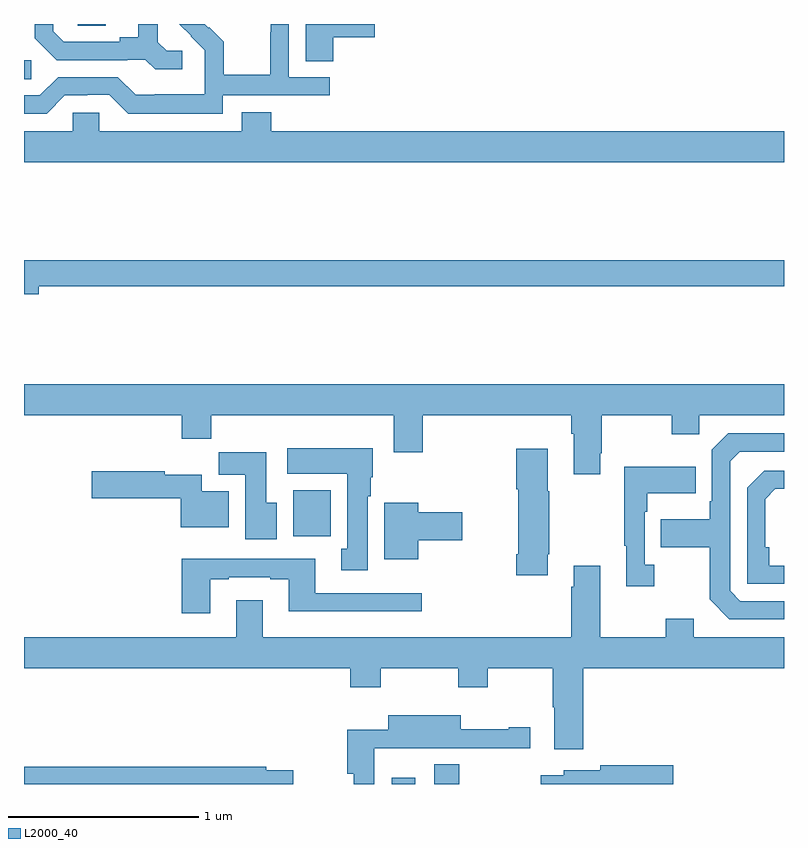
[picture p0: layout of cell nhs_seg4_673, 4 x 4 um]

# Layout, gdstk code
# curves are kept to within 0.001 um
import gdstk
lib = gdstk.Library(unit=1e-6, precision=1e-09)
def R(c, l, rs):  # rectangles x0, y0, x1, y1
    for r in rs: c.add(gdstk.rectangle(r[:2], r[2:], *l))
def P(c, l, *ps):  # polygons
    for p in ps: c.add(gdstk.Polygon(p, *l))
L2000_40 = (2000, 40)

nhs_seg4_673 = lib.new_cell('nhs_seg4_673')
R(nhs_seg4_673, L2000_40, [(146.936,774.9,147.058,774.934), (147.158,774.9,147.292,775.003), (146.417,776.204,146.614,776.446), (145,778.609,145.039,778.71), (145.284,778.891,145.429,778.9)])
P(nhs_seg4_673, L2000_40, [(145.834,778.758),(145.752,778.758),(145.705,778.805),(145.705,778.9),(145.601,778.9),(145.601,778.829),(145.505,778.829),(145.505,778.806),(145.21,778.806),(145.153,778.863),(145.153,778.9),(145.056,778.9),(145.056,778.826),(145.172,778.71),(145.544,778.71),(145.544,778.713),(145.638,778.713),(145.69,778.661),(145.834,778.661)],
  [(146.046,778.524),(146.608,778.524),(146.608,778.62),(146.394,778.62),(146.394,778.9),(146.298,778.9),(146.298,778.856),(146.296,778.856),(146.296,778.633),(146.051,778.633),(146.051,778.807),(145.974,778.884),(145.971,778.881),(145.952,778.9),(145.816,778.9),(145.952,778.762),(145.952,778.665),(145.95,778.665),(145.95,778.531),(145.687,778.531),(145.687,778.527),(145.587,778.527),(145.494,778.62),(145.179,778.62),(145.083,778.524),(145,778.524),(145,778.428),(145.119,778.428),(145.215,778.524),(145.334,778.524),(145.334,778.527),(145.449,778.527),(145.549,778.427),(146.046,778.427)],
  [(146.627,778.829),(146.845,778.829),(146.845,778.9),(146.483,778.9),(146.483,778.705),(146.627,778.705)],
  [(149,778.336),(146.3,778.336),(146.3,778.435),(146.147,778.435),(146.147,778.336),(145.395,778.336),(145.395,778.434),(145.257,778.434),(145.257,778.336),(145,778.336),(145,778.172),(149,778.172)],
  [(145.078,777.52),(149,777.52),(149,777.656),(145,777.656),(145,777.478),(145.078,777.478)],
  [(148.033,776.641),(148.041,776.641),(148.041,776.84),(148.408,776.84),(148.408,776.741),(148.554,776.741),(148.554,776.84),(149,776.84),(149,777.004),(145,777.004),(145,776.84),(145.829,776.84),(145.829,776.716),(145.985,776.716),(145.985,776.84),(146.945,776.84),(146.945,776.646),(147.098,776.646),(147.098,776.84),(147.881,776.84),(147.881,776.744),(147.893,776.744),(147.893,776.529),(148.033,776.529)],
  [(149,775.863),(148.77,775.863),(148.716,775.917),(148.716,776.598),(148.767,776.649),(149,776.649),(149,776.745),(148.707,776.745),(148.62,776.658),(148.62,776.389),(148.608,776.389),(148.608,776.293),(148.351,776.293),(148.351,776.146),(148.608,776.146),(148.608,775.873),(148.713,775.767),(149,775.767)],
  [(146.809,776.414),(146.824,776.414),(146.824,776.514),(146.836,776.514),(146.836,776.668),(146.385,776.668),(146.385,776.534),(146.702,776.534),(146.702,776.138),(146.669,776.138),(146.669,776.025),(146.809,776.025)],
  [(147.757,776.11),(147.765,776.11),(147.765,776.441),(147.757,776.441),(147.757,776.665),(147.59,776.665),(147.59,776.452),(147.602,776.452),(147.602,776.11),(147.59,776.11),(147.59,775.998),(147.757,775.998)],
  [(146.329,776.38),(146.275,776.38),(146.275,776.647),(146.026,776.647),(146.026,776.528),(146.165,776.528),(146.165,776.187),(146.329,776.187)],
  [(148.318,776.054),(148.266,776.054),(148.266,776.333),(148.279,776.333),(148.279,776.429),(148.535,776.429),(148.535,776.569),(148.158,776.569),(148.158,776.153),(148.169,776.153),(148.169,775.941),(148.318,775.941)],
  [(149,776.049),(148.922,776.049),(148.922,776.146),(148.902,776.146),(148.902,776.4),(148.955,776.453),(149,776.453),(149,776.55),(148.896,776.55),(148.806,776.46),(148.806,775.953),(149,775.953)],
  [(146.077,776.44),(145.936,776.44),(145.936,776.527),(145.74,776.527),(145.74,776.547),(145.356,776.547),(145.356,776.405),(145.826,776.405),(145.826,776.252),(146.077,776.252)],
  [(147.076,776.183),(147.307,776.183),(147.307,776.33),(147.076,776.33),(147.076,776.38),(146.897,776.38),(146.897,776.084),(147.076,776.084)],
  [(145.981,775.977),(146.077,775.977),(146.077,775.989),(146.297,775.989),(146.297,775.977),(146.393,775.977),(146.393,775.808),(147.094,775.808),(147.094,775.905),(146.533,775.905),(146.533,776.085),(146.069,776.085),(146.069,776.086),(145.829,776.086),(145.829,775.8),(145.981,775.8)],
  [(146.117,775.867),(146.117,775.672),(145,775.672),(145,775.508),(146.717,775.508),(146.717,775.409),(146.877,775.409),(146.877,775.508),(147.286,775.508),(147.286,775.409),(147.441,775.409),(147.441,775.508),(147.784,775.508),(147.784,775.304),(147.791,775.304),(147.791,775.083),(147.944,775.083),(147.944,775.508),(149,775.508),(149,775.672),(148.525,775.672),(148.525,775.771),(148.378,775.771),(148.378,775.672),(148.033,775.672),(148.033,776.05),(147.893,776.05),(147.893,775.937),(147.881,775.937),(147.881,775.672),(146.257,775.672),(146.257,775.867)],
  [(146.844,775.088),(147.162,775.088),(147.162,775.089),(147.394,775.089),(147.394,775.088),(147.664,775.088),(147.664,775.198),(147.551,775.198),(147.551,775.188),(147.298,775.188),(147.298,775.261),(146.918,775.261),(146.918,775.185),(146.702,775.185),(146.702,774.953),(146.736,774.953),(146.736,774.9),(146.844,774.9)],
  [(148.417,774.998),(148.032,774.998),(148.032,774.973),(147.84,774.973),(147.84,774.946),(147.719,774.946),(147.719,774.9),(148.417,774.9)],
  [(146.418,774.972),(146.276,774.972),(146.276,774.992),(145,774.992),(145,774.9),(146.418,774.9)])

lib.write_gds('nhs_seg4_673.gds')
